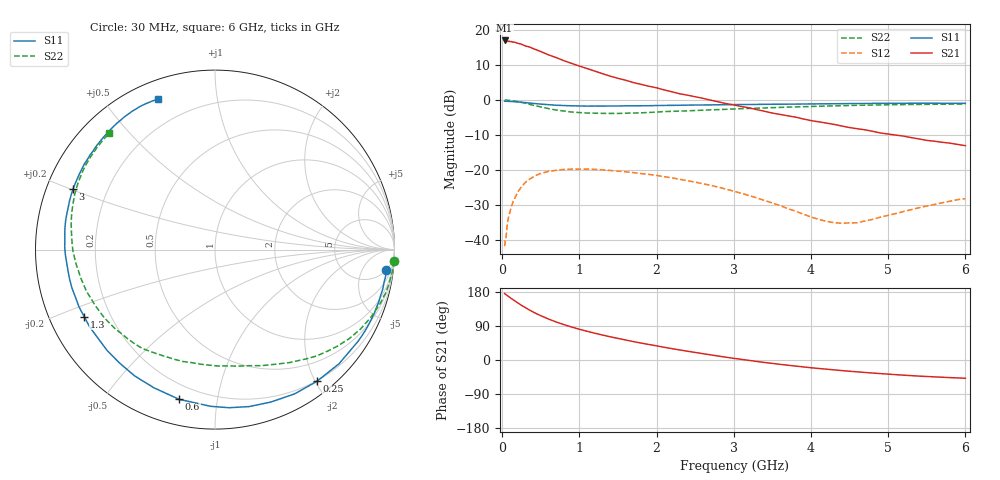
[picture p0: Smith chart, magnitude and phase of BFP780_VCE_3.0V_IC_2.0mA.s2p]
! Infineon Technologies  Discrete & RF Semiconductors
! BFP780
! VCE =  3.0 V,  IC =  2.0 mA
! Common Emitter S-Parameters:  Jul 2015
# GHz  S  MA  R  50
!  f  S11  S21  S12  S22
! GHz  MAG  ANG  MAG  ANG  MAG  ANG  MAG  ANG
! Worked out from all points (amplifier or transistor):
!   75 points, 30 MHz to 6 GHz, reference 50 ohm
!   highest |S21| = 17.0 dB at 30 MHz (marker M1)
!   |S21| within 3 dB of that: start of sweep to 480.7 MHz
!   unconditionally stable (mu >= 1): 3.012 GHz to end of sweep
!   at 150 MHz: K = 0.02, MSG = 22.5 dB, |S12| = -28.5 dB
!   at 2.3 GHz: K = 0.56, MSG = 12.2 dB, |S12| = -22.6 dB
!   at 6 GHz: K = 2.52, MAG = 0.7 dB, |S12| = -28.1 dB
!   S11 on the Smith chart (normalised r, x): 30 MHz: 5, -15; 250 MHz: 0.19, -2.02; 600 MHz: 0.12, -0.78; 1.3 GHz: 0.11, -0.24; 3 GHz: 0.08, +0.20; 6 GHz: 0.08, +0.69
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0.03  0.9618 -6.8  7.04 175.3  0.0083 84.9  0.999 -3.7
0.04  0.962 -8.9  6.837 173.8  0.0101 83.0  0.9962 -4.9
0.09  0.9557 -19.9  6.869 166.2  0.0234 78.1  0.9882 -10.9
0.15  0.9466 -32.7  6.703 157.6  0.0376 69.5  0.9693 -17.8
0.25  0.9278 -52.3  6.222 144.1  0.0585 56.3  0.9239 -28.6
0.35  0.9046 -69.9  5.696 132.1  0.0743 44.6  0.8692 -38.2
0.4  0.8951 -77.7  5.386 126.7  0.0803 39.8  0.8442 -42.1
0.5  0.8735 -91.6  4.888 116.8  0.0901 30.3  0.7948 -49.9
0.6  0.8579 -103.5  4.386 108.0  0.0964 22.3  0.754 -56.6
0.8  0.8342 -122.5  3.617 93.3  0.1027 9.1  0.6962 -68.3
0.9  0.8259 -130.2  3.315 86.9  0.1035 3.6  0.6741 -73.6
1.1  0.8178 -143.0  2.801 75.7  0.1036 -5.9  0.652 -83.6
1.3  0.819 -152.9  2.366 65.8  0.1013 -14.0  0.6445 -92.8
1.7  0.8266 -168.5  1.769 48.5  0.0925 -27.5  0.6518 -110.6
2.1  0.8373 179.1  1.389 33.5  0.0809 -39.6  0.6839 -126.4
2.5  0.848 168.7  1.112 19.9  0.0677 -48.8  0.709 -141.2
3  0.8598 157.0  0.85 4.4  0.0502 -57.3  0.7428 -158.7
3.1  0.8614 154.9  0.807 1.6  0.0469 -58.7  0.753 -161.9
4.1  0.8808 135.7  0.489 -22.4  0.02 -42.5  0.8145 169.7
4.6  0.8914 127.7  0.39 -31.3  0.0179 -8.5  0.841 158.3
5.1  0.8985 121.0  0.316 -38.7  0.0242 12.3  0.8584 148.3
6  0.8978 110.9  0.224 -48.2  0.0395 18.3  0.8756 132.3
